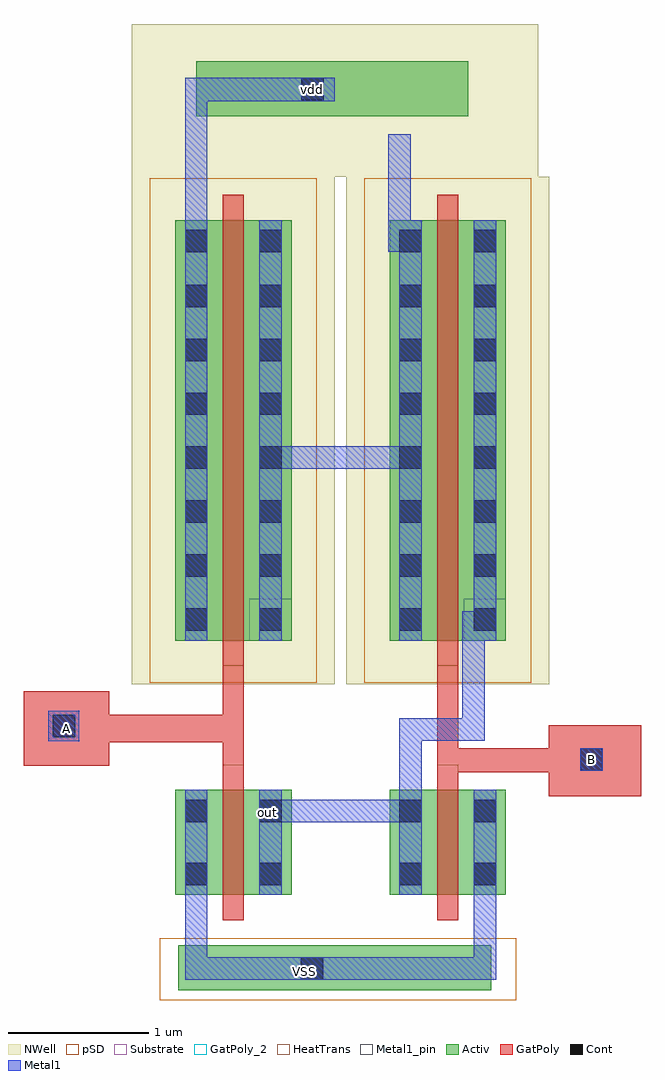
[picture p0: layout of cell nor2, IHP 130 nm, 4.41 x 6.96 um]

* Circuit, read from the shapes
.subckt nor2 A B VSS out vdd
XM1 out A VSS VSS sg13_lv_nmos w=0.75u l=0.15u
XM2 VSS B out VSS sg13_lv_nmos w=0.75u l=0.15u
XM3 n1 A vdd vdd sg13_lv_pmos w=3u l=0.15u
XM4 out B n1 vdd sg13_lv_pmos w=3u l=0.15u
.ends

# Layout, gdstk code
import gdstk
lib = gdstk.Library(unit=1e-6, precision=5e-09)
def R(c, l, rs):  # rectangles x0, y0, x1, y1
    for r in rs: c.add(gdstk.rectangle(r[:2], r[2:], *l))
def A(c, l, x, y, w, h, nx, ny, dx, dy):  # array of equal rectangles
    R(c, l, [(x+i*dx, y+j*dy, x+i*dx+w, y+j*dy+h) for i in range(nx) for j in range(ny)])
def P(c, l, *ps):  # polygons
    for p in ps: c.add(gdstk.Polygon(p, *l))
Activ = (1, 0)
GatPoly = (5, 0)
GatPoly_2 = (5, 2)
Cont = (6, 0)
Metal1 = (8, 0)
Metal1_pin = (8, 2)
pSD = (14, 0)
NWell = (31, 0)
Substrate = (40, 0)
HeatTrans = (51, 0)

nmos_2 = lib.new_cell('nmos$2')
R(nmos_2, Activ, [(0,0,0.3,0.3), (0,0,0.83,0.75), (0.53,0,0.83,0.3)])
R(nmos_2, GatPoly, [(0.34,-0.18,0.49,0.93)])
R(nmos_2, GatPoly_2, [(0.34,-0.18,0.49,0.93)])
R(nmos_2, Cont, [(0.07,0.07,0.23,0.23), (0.6,0.07,0.76,0.23), (0.07,0.52,0.23,0.68), (0.6,0.52,0.76,0.68)])
R(nmos_2, Metal1, [(0.07,0,0.23,0.75), (0.6,0,0.76,0.75)])
R(nmos_2, Metal1_pin, [(0.07,0,0.23,0.75), (0.6,0,0.76,0.75)])
R(nmos_2, HeatTrans, [(0.34,-0.18,0.49,0.93)])
nmos_2.add(gdstk.Label('nmos', (0.415,0.375), layer=63, texttype=0))
nmos_2.add(gdstk.Label('nmos', (0.415,0.375), layer=51, texttype=0))

pmos_1_1 = lib.new_cell('pmos$1$1')
R(pmos_1_1, Activ, [(0,0,0.3,0.3), (0,0,0.83,3), (0.53,0,0.83,0.3)])
R(pmos_1_1, GatPoly, [(0.34,-0.18,0.49,3.18), (0.34,-0.18,0.49,3.18)])
A(pmos_1_1, Cont, 0.07, 0.07, 0.16, 0.16, 1, 7, 0, 0.385)
A(pmos_1_1, Cont, 0.6, 0.07, 0.16, 0.16, 1, 7, 0, 0.385)
R(pmos_1_1, Cont, [(0.07,2.77,0.23,2.93), (0.6,2.77,0.76,2.93)])
R(pmos_1_1, Metal1, [(0.07,0,0.23,3), (0.07,0,0.23,3), (0.6,0,0.76,3), (0.6,0,0.76,3)])
R(pmos_1_1, pSD, [(-0.18,-0.3,1.01,3.3)])
R(pmos_1_1, NWell, [(-0.31,-0.31,1.14,3.31)])
R(pmos_1_1, Substrate, [(0.53,0,0.83,0.3)])
R(pmos_1_1, HeatTrans, [(0.34,-0.18,0.49,3.18)])
pmos_1_1.add(gdstk.Label('pmos', (0.415,1.5), layer=63, texttype=0))
pmos_1_1.add(gdstk.Label('pmos', (0.415,1.5), layer=51, texttype=0))

nor2 = lib.new_cell('nor2')
R(nor2, Activ, [(-2.29,-1.185,-0.055,-0.865), (-2.16,5.05,-0.22,5.445)])
R(nor2, GatPoly, [(0.355,0.2,1.015,0.705), (-0.44,0.37,0.355,0.54), (-3.39,0.415,-2.78,0.95), (-1.97,0.425,-1.82,1.13), (-0.44,0.425,-0.29,1.13), (-2.78,0.585,-1.82,0.78)])
P(nor2, GatPoly, [(-0.52,1.13),(-0.52,1.13),(-0.37,1.13),(-0.37,1.13)])
R(nor2, Cont, [(-1.415,-1.11,-1.255,-0.95), (0.58,0.38,0.74,0.54), (-3.185,0.62,-3.025,0.78), (-1.41,5.165,-1.25,5.325)])
R(nor2, Metal1, [(-2.24,-1.11,-2.08,-0.275), (-2.08,-1.11,-0.18,-0.95), (-1.415,-1.11,-1.255,-0.95), (-0.18,-1.11,-0.02,-0.285), (-1.71,0.015,-0.62,0.175), (-0.71,0.02,-0.55,0.755), (0.58,0.38,0.74,0.54), (-3.215,0.59,-2.995,0.81), (-0.71,0.595,-0.1,0.755), (-0.26,0.595,-0.1,1.52), (-1.71,2.535,-0.63,2.695), (-2.24,4.085,-2.08,4.945), (-0.79,4.085,-0.63,4.925), (-2.24,4.945,-2.08,5.325), (-2.24,5.16,-1.17,5.325), (-1.405,5.165,-1.25,5.325)])
R(nor2, Metal1_pin, [(-1.415,-1.11,-1.255,-0.95), (-1.71,0.02,-1.55,0.175), (0.58,0.38,0.74,0.54), (-3.215,0.59,-2.995,0.81), (-1.405,5.165,-1.25,5.325)])
R(nor2, pSD, [(-2.42,-1.255,0.125,-0.815)])
R(nor2, NWell, [(-2.62,4.62,0.28,5.71)])
nor2.add(gdstk.Reference(nmos_2, (-2.31,-0.505)))
nor2.add(gdstk.Reference(pmos_1_1, (-0.78,1.31)))
nor2.add(gdstk.Reference(pmos_1_1, (-2.31,1.31)))
nor2.add(gdstk.Reference(pmos_1_1, (-2.31,1.31)))
nor2.add(gdstk.Reference(nmos_2, (-0.78,-0.505)))
nor2.add(gdstk.Label('A', (-3.085,0.68), layer=8, texttype=2))
nor2.add(gdstk.Label('B', (0.66,0.46), layer=8, texttype=2))
nor2.add(gdstk.Label('VSS', (-1.39,-1.055), layer=8, texttype=2))
nor2.add(gdstk.Label('vdd', (-1.33,5.245), layer=8, texttype=2))
nor2.add(gdstk.Label('out', (-1.65,0.08), layer=8, texttype=2))

lib.write_gds('nor2.gds')
